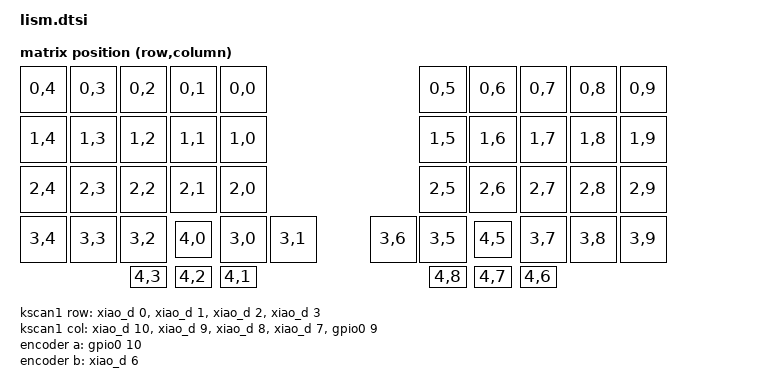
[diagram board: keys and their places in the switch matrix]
#include <dt-bindings/zmk/matrix_transform.h>
#include <dt-bindings/zmk/input_transform.h>
#include <physical_layouts.dtsi>
#include <zephyr/dt-bindings/input/input-event-codes.h>
#include <input/processors.dtsi>
#include <behaviors/battery_history_request.dtsi>

/ {
    chosen {
        zmk,kscan = &kscan0;
        zmk,physical-layout = &physical_key_layout;
    };

    physical_key_layout: physical_key_layout {
        compatible = "zmk,physical-layout";
        display-name = "42-Key Layout";
        transform = <&transform_keymap>;
        keys  //                     w   h    x    y     rot    rx    ry
            = <&key_physical_attrs 100 100    0    0       0     0     0>
            , <&key_physical_attrs 100 100  100    0       0     0     0>
            , <&key_physical_attrs 100 100  200    0       0     0     0>
            , <&key_physical_attrs 100 100  300    0       0     0     0>
            , <&key_physical_attrs 100 100  400    0       0     0     0>
            , <&key_physical_attrs 100 100  800    0       0     0     0>
            , <&key_physical_attrs 100 100  900    0       0     0     0>
            , <&key_physical_attrs 100 100 1000    0       0     0     0>
            , <&key_physical_attrs 100 100 1100    0       0     0     0>
            , <&key_physical_attrs 100 100 1200    0       0     0     0>
            , <&key_physical_attrs 100 100    0  100       0     0     0>
            , <&key_physical_attrs 100 100  100  100       0     0     0>
            , <&key_physical_attrs 100 100  200  100       0     0     0>
            , <&key_physical_attrs 100 100  300  100       0     0     0>
            , <&key_physical_attrs 100 100  400  100       0     0     0>
            , <&key_physical_attrs 100 100  800  100       0     0     0>
            , <&key_physical_attrs 100 100  900  100       0     0     0>
            , <&key_physical_attrs 100 100 1000  100       0     0     0>
            , <&key_physical_attrs 100 100 1100  100       0     0     0>
            , <&key_physical_attrs 100 100 1200  100       0     0     0>
            , <&key_physical_attrs 100 100    0  200       0     0     0>
            , <&key_physical_attrs 100 100  100  200       0     0     0>
            , <&key_physical_attrs 100 100  200  200       0     0     0>
            , <&key_physical_attrs 100 100  300  200       0     0     0>
            , <&key_physical_attrs 100 100  400  200       0     0     0>
            , <&key_physical_attrs 100 100  800  200       0     0     0>
            , <&key_physical_attrs 100 100  900  200       0     0     0>
            , <&key_physical_attrs 100 100 1000  200       0     0     0>
            , <&key_physical_attrs 100 100 1100  200       0     0     0>
            , <&key_physical_attrs 100 100 1200  200       0     0     0>
            , <&key_physical_attrs 100 100    0  300       0     0     0>
            , <&key_physical_attrs 100 100  100  300       0     0     0>
            , <&key_physical_attrs 100 100  200  300       0     0     0>
            , <&key_physical_attrs  80  80  310  310       0     0     0>
            , <&key_physical_attrs 100 100  400  300       0     0     0>
            , <&key_physical_attrs 100 100  500  300       0     0     0>
            , <&key_physical_attrs 100 100  700  300       0     0     0>
            , <&key_physical_attrs 100 100  800  300       0     0     0>
            , <&key_physical_attrs  80  80  910  310       0     0     0>
            , <&key_physical_attrs 100 100 1000  300       0     0     0>
            , <&key_physical_attrs 100 100 1100  300       0     0     0>
            , <&key_physical_attrs 100 100 1200  300       0     0     0>
            , <&key_physical_attrs  80  50  220  400       0     0     0>
            , <&key_physical_attrs  80  50  310  400       0     0     0>
            , <&key_physical_attrs  80  50  400  400       0     0     0>
            , <&key_physical_attrs  80  50  820  400       0     0     0>
            , <&key_physical_attrs  80  50  910  400       0     0     0>
            , <&key_physical_attrs  80  50 1000  400       0     0     0>
            ;
    };
    
    // 論理キー配列へ
    transform_keymap: transform_keymap {
        compatible = "zmk,matrix-transform";
        columns = <12>;
        rows = <5>;
        map = <
            RC(0,4) RC(0,3) RC(0,2) RC(0,1) RC(0,0)                    RC(0,5) RC(0,6)  RC(0,7) RC(0,8) RC(0,9)
            RC(1,4) RC(1,3) RC(1,2) RC(1,1) RC(1,0)                    RC(1,5) RC(1,6)  RC(1,7) RC(1,8) RC(1,9)
            RC(2,4) RC(2,3) RC(2,2) RC(2,1) RC(2,0)                    RC(2,5) RC(2,6)  RC(2,7) RC(2,8) RC(2,9)
            RC(3,4) RC(3,3) RC(3,2) RC(4,0) RC(3,0) RC(3,1)    RC(3,6) RC(3,5) RC(4,5) RC(3,7) RC(3,8) RC(3,9)
                            RC(4,3) RC(4,2) RC(4,1)                    RC(4,8) RC(4,7) RC(4,6) 
        >;
    };

    kscan0: kscan0 {
        compatible = "zmk,kscan-composite";
        wakeup-source;

        main {
            kscan = <&kscan1>;
        };
        module {
            row-offset = <4>;
            kscan = <&kscan2>;
        };
    };

    kscan1: kscan1 {
        compatible = "zmk,kscan-gpio-matrix";
        diode-direction = "col2row";    // カソードが行
        wakeup-source;

        row-gpios
            = <&xiao_d 0 (GPIO_ACTIVE_HIGH | GPIO_PULL_DOWN)>   // row0: D0
            , <&xiao_d 1 (GPIO_ACTIVE_HIGH | GPIO_PULL_DOWN)>   // row1: D1
            , <&xiao_d 2 (GPIO_ACTIVE_HIGH | GPIO_PULL_DOWN)>   // row2: D2
            , <&xiao_d 3 (GPIO_ACTIVE_HIGH | GPIO_PULL_DOWN)>   // row3: D3
            ; 

        col-gpios
            = <&xiao_d 10 GPIO_ACTIVE_HIGH>                     // col0: D10
            , <&xiao_d 9  GPIO_ACTIVE_HIGH>                     // col1: D9
            , <&xiao_d 8  GPIO_ACTIVE_HIGH>                     // col2: D8
            , <&xiao_d 7  GPIO_ACTIVE_HIGH>                     // col3: D7
            , <&gpio0  9  GPIO_ACTIVE_HIGH>                     // col4: GPIO9(NFC1)
            ; 
    };

    kscan2: kscan2 {
        compatible = "zmk,kscan-mock";
        columns = <0>;
        rows = <0>;
        events = <0>;
    };

    encoder: encoder {
        compatible = "alps,ec11";
        a-gpios = <&gpio0 10 (GPIO_ACTIVE_HIGH | GPIO_PULL_UP)>;
        b-gpios = <&xiao_d 6 (GPIO_ACTIVE_HIGH | GPIO_PULL_UP)>;
        steps = <12>;
        status = "disabled";
    };

    sensors: sensors {
        compatible = "zmk,keymap-sensors";
        sensors = <&encoder>;
        triggers-per-rotation = <6>;
    };

    split_inputs {
        #address-cells = <1>;
        #size-cells = <0>;

        trackball_split: trackball_split@0 {
            compatible = "zmk,input-split";
            reg = <0>;
        };
    };

    // ペリフェラル->セントラルのためのリスナー
    peripheral_listener: peripheral_listener {
        compatible = "zmk,input-listener";
        status = "disabled";
        device = <&trackball_split>;
    };

    // セントラルのためのリスナー（後でdeviceを割当）
    central_listener: central_listener {
        compatible = "zmk,input-listener";
        status = "disabled";
    };

    /* 充電ステータス */
    chg_stat: chg_stat {
        compatible = "custom,chg-stat";
        gpios = <&gpio0 17 GPIO_ACTIVE_LOW>; /* Low=充電中 */
        status = "okay";
    };
};

&pinctrl {
    spi0_default: spi0_default {
        group1 {
            psels = <NRF_PSEL(SPIM_SCK, 0, 5)>,
                <NRF_PSEL(SPIM_MOSI, 0, 4)>,
                <NRF_PSEL(SPIM_MISO, 0, 4)>;
        };
    };

    spi0_sleep: spi0_sleep {
        group1 {
            psels = <NRF_PSEL(SPIM_SCK, 0, 5)>,
                <NRF_PSEL(SPIM_MOSI, 0, 4)>,
                <NRF_PSEL(SPIM_MISO, 0, 4)>;
            low-power-enable;
        };
    };
};

&spi0 {
    status = "disabled";
    compatible = "nordic,nrf-spim";
    pinctrl-0 = <&spi0_default>;
    pinctrl-1 = <&spi0_sleep>;
    pinctrl-names = "default", "sleep";
    cs-gpios = <&gpio0 10 GPIO_ACTIVE_LOW>;
};

&vbatt {
    output-ohms = <503000>;
    full-ohms = <(1000000 + 503000)>;
};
